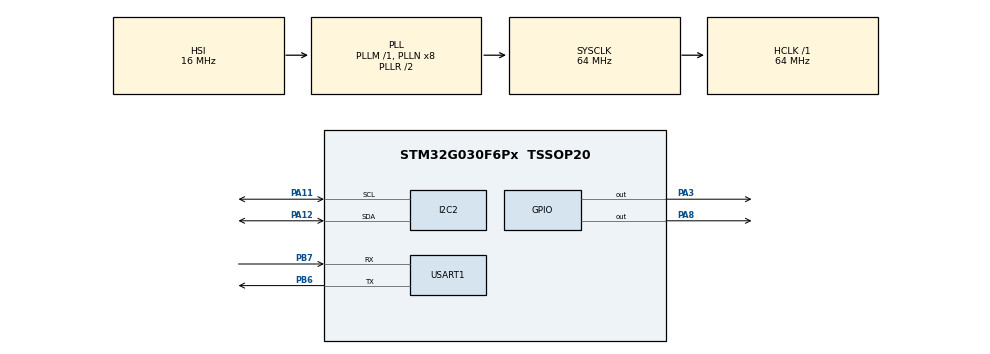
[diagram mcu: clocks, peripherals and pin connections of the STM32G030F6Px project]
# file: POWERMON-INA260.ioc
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I2C2.Timing=0x10707DBC
Mcu.Family=STM32G0
Mcu.Name=STM32G030F6Px
Mcu.Package=TSSOP20
NVIC.TIM1_BRK_UP_TRG_COM_IRQn=true\:0\:0\:false\:false\:true\:true\:true
NVIC.USART1_IRQn=true\:0\:0\:false\:false\:true\:true\:true
PA11\ [PA9].Mode=I2C
PA11\ [PA9].Signal=I2C2_SCL
PA12\ [PA10].Mode=I2C
PA12\ [PA10].Signal=I2C2_SDA
PA3.Signal=GPIO_Output
PA8.Signal=GPIO_Output
PB6.Mode=Asynchronous
PB6.Signal=USART1_TX
PB7.Mode=Asynchronous
PB7.Signal=USART1_RX
ProjectManager.HeapSize=0x200
ProjectManager.StackSize=0x400
ProjectManager.TargetToolchain=STM32CubeIDE
RCC.ADCFreq_Value=64000000
RCC.AHBFreq_Value=64000000
RCC.CortexFreq_Value=64000000
RCC.EXTERNAL_CLOCK_VALUE=12288000
RCC.HCLKFreq_Value=64000000
RCC.HSE_VALUE=8000000
RCC.HSI_VALUE=16000000
RCC.LSE_VALUE=32768
RCC.SYSCLKFreq_VALUE=64000000
RCC.SYSCLKSource=RCC_SYSCLKSOURCE_PLLCLK
RCC.VCOOutputFreq_Value=128000000
TIM1.Period=39999
TIM1.Prescaler=159
USART1.VirtualMode-Asynchronous=VM_ASYNC
VP_TIM1_VS_ClockSourceITR.Mode=TriggerSource_ITR0
board=custom

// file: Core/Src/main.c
/* USER CODE BEGIN Header */
/**
  ******************************************************************************
  * @file           : main.c
  * @brief          : Main program body
  ******************************************************************************
  * @attention
  *
  * <h2><center>&copy; Copyright (c) 2021 STMicroelectronics.
  * All rights reserved.</center></h2>
  *
  * This software component is licensed by ST under BSD 3-Clause license,
  * the "License"; You may not use this file except in compliance with the
  * License. You may obtain a copy of the License at:
  *                        opensource.org/licenses/BSD-3-Clause
  *
  ******************************************************************************
  */
/* USER CODE END Header */
#include "main.h"
#include "i2c.h"
#include "tim.h"
#include "usart.h"
#include "gpio.h"

/* USER CODE BEGIN Includes */
#include "ina260.h"
#include <string.h>
#include <stdio.h>
/* USER CODE END Includes */

/* USER CODE BEGIN PTD */
char CMD_ON[] = "ON";
char CMD_OFF[] = "OF";
uint8_t USART_rxBuffer[2] = {0};
/* USER CODE END PTD */

void SystemClock_Config(void);

int main(void)
{

  /* MCU Configuration--------------------------------------------------------*/

  /* Reset of all peripherals, Initializes the Flash interface and the Systick. */
  HAL_Init();

  /* Configure the system clock */
  SystemClock_Config();

  /* Initialize all configured peripherals */
  MX_GPIO_Init();
  MX_I2C2_Init();
  MX_TIM1_Init();
  MX_USART1_UART_Init();
  /* USER CODE BEGIN 2 */
  ina260_Init();
  __HAL_TIM_CLEAR_IT(&htim1, TIM_IT_UPDATE);
   HAL_TIM_Base_Start_IT(&htim1);
   HAL_UART_Receive_IT(&huart1, USART_rxBuffer, 2);
  /* USER CODE END 2 */

  /* Infinite loop */
  while (1)
  {

  }
}

void SystemClock_Config(void)
{
  RCC_OscInitTypeDef RCC_OscInitStruct = {0};
  RCC_ClkInitTypeDef RCC_ClkInitStruct = {0};
  RCC_PeriphCLKInitTypeDef PeriphClkInit = {0};

  /** Configure the main internal regulator output voltage
  */
  HAL_PWREx_ControlVoltageScaling(PWR_REGULATOR_VOLTAGE_SCALE1);
  /** Initializes the RCC Oscillators according to the specified parameters
  * in the RCC_OscInitTypeDef structure.
  */
  RCC_OscInitStruct.OscillatorType = RCC_OSCILLATORTYPE_HSI;
  RCC_OscInitStruct.HSIState = RCC_HSI_ON;
  RCC_OscInitStruct.HSIDiv = RCC_HSI_DIV1;
  RCC_OscInitStruct.HSICalibrationValue = RCC_HSICALIBRATION_DEFAULT;
  RCC_OscInitStruct.PLL.PLLState = RCC_PLL_ON;
  RCC_OscInitStruct.PLL.PLLSource = RCC_PLLSOURCE_HSI;
  RCC_OscInitStruct.PLL.PLLM = RCC_PLLM_DIV1;
  RCC_OscInitStruct.PLL.PLLN = 8;
  RCC_OscInitStruct.PLL.PLLP = RCC_PLLP_DIV2;
  RCC_OscInitStruct.PLL.PLLR = RCC_PLLR_DIV2;
  if (HAL_RCC_OscConfig(&RCC_OscInitStruct) != HAL_OK)
  {
    Error_Handler();
  }
  /** Initializes the CPU, AHB and APB buses clocks
  */
  RCC_ClkInitStruct.ClockType = RCC_CLOCKTYPE_HCLK|RCC_CLOCKTYPE_SYSCLK
                              |RCC_CLOCKTYPE_PCLK1;
  RCC_ClkInitStruct.SYSCLKSource = RCC_SYSCLKSOURCE_PLLCLK;
  RCC_ClkInitStruct.AHBCLKDivider = RCC_SYSCLK_DIV1;
  RCC_ClkInitStruct.APB1CLKDivider = RCC_HCLK_DIV1;

  if (HAL_RCC_ClockConfig(&RCC_ClkInitStruct, FLASH_LATENCY_2) != HAL_OK)
  {
    Error_Handler();
  }
  /** Initializes the peripherals clocks
  */
  PeriphClkInit.PeriphClockSelection = RCC_PERIPHCLK_USART1;
  PeriphClkInit.Usart1ClockSelection = RCC_USART1CLKSOURCE_PCLK1;
  if (HAL_RCCEx_PeriphCLKConfig(&PeriphClkInit) != HAL_OK)
  {
    Error_Handler();
  }
}

/* USER CODE BEGIN 4 */
void HAL_TIM_PeriodElapsedCallback(TIM_HandleTypeDef *htim)
{
	if(htim->Instance == TIM1)
	{
		  int16_t current = ina260_GetCurrent();
		  int16_t vbus = ina260_GetVBus();
		  char testchar[30];
		  sprintf(testchar,"%d,%d",vbus, current);
		  debugPrintln(testchar);
	}
}
void HAL_UART_RxCpltCallback(UART_HandleTypeDef *huart)
{
	if (strcmp((const char *)USART_rxBuffer, CMD_ON) == 0)
	{
		HAL_GPIO_WritePin(GPIOA, GPIO_PIN_3, GPIO_PIN_SET);
		HAL_GPIO_WritePin(GPIOA, GPIO_PIN_8, GPIO_PIN_SET);
	}
	else if (strcmp((const char *)USART_rxBuffer, CMD_OFF) == 0)
	{
		HAL_GPIO_WritePin(GPIOA, GPIO_PIN_3, GPIO_PIN_RESET);
		HAL_GPIO_WritePin(GPIOA, GPIO_PIN_8, GPIO_PIN_RESET);
	}else{
		//debugPrintln((char *)USART_rxBuffer);
	}
    HAL_UART_Receive_IT(huart, USART_rxBuffer, 2);
}

/* USER CODE END 4 */

void Error_Handler(void)
{
  __disable_irq();
  while (1)
  {
  }
}

/************************ (C) COPYRIGHT STMicroelectronics *****END OF FILE****/
